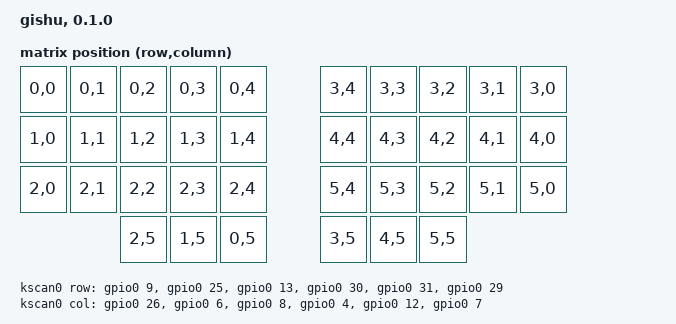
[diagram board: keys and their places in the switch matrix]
/dts-v1/;
#include <nordic/nrf52840_qiaa.dtsi>
#include <dt-bindings/zmk/matrix_transform.h>
#include <dt-bindings/zmk/ext_power.h>

/ {
    model = "gishu, 0.1.0";
    compatible = "gishu,0.1.0";

    chosen {
        zephyr,code-partition = &code_partition;
        zephyr,sram = &sram0;
        zephyr,flash = &flash0;
        zmk,kscan = &kscan0;
        zmk,matrix_transform = &default_transform;
        zmk,battery = &vbatt;
        zmk,ext-power = &ext_power;
        /* zephyr,console = &cdc_acm_uart; */
    };

    default_transform: keymap_transform_0 {
        compatible = "zmk,matrix-transform";
        columns = <6>;
        rows = <6>;
        map = <
            RC(0,0) RC(0,1) RC(0,2) RC(0,3) RC(0,4)    RC(3,4) RC(3,3) RC(3,2) RC(3,1) RC(3,0) 
            RC(1,0) RC(1,1) RC(1,2) RC(1,3) RC(1,4)    RC(4,4) RC(4,3) RC(4,2) RC(4,1) RC(4,0) 
            RC(2,0) RC(2,1) RC(2,2) RC(2,3) RC(2,4)    RC(5,4) RC(5,3) RC(5,2) RC(5,1) RC(5,0) 
                            RC(2,5) RC(1,5) RC(0,5)    RC(3,5) RC(4,5) RC(5,5)
            >;
    };

 
    kscan0: kscan {
        compatible = "zmk,kscan-gpio-matrix";
        diode-direction = "col2row";
        row-gpios
            = <&gpio0  9 (GPIO_ACTIVE_HIGH | GPIO_PULL_DOWN)>
            , <&gpio0 25 (GPIO_ACTIVE_HIGH | GPIO_PULL_DOWN)>
            , <&gpio0 13 (GPIO_ACTIVE_HIGH | GPIO_PULL_DOWN)>
            , <&gpio0 30 (GPIO_ACTIVE_HIGH | GPIO_PULL_DOWN)>
            , <&gpio0 31 (GPIO_ACTIVE_HIGH | GPIO_PULL_DOWN)>
            , <&gpio0 29 (GPIO_ACTIVE_HIGH | GPIO_PULL_DOWN)>
            ;
        col-gpios
            = <&gpio0 26 GPIO_ACTIVE_HIGH>
            , <&gpio0  6 GPIO_ACTIVE_HIGH>
            , <&gpio0  8 GPIO_ACTIVE_HIGH>
            , <&gpio0  4 GPIO_ACTIVE_HIGH>
            , <&gpio0 12 GPIO_ACTIVE_HIGH>
            , <&gpio0  7 GPIO_ACTIVE_HIGH>
            ;
    };
    vbatt: vbatt {
        compatible = "zmk,battery-nrf-vddh";
    };


    ext_power {
        compatible = "zmk,ext-power-generic";
        control-gpios = <&gpio1 9 GPIO_ACTIVE_HIGH>;
    };
};

&adc {
    status = "okay";
};

&gpio0 {
    status = "okay";
};

&gpio1 {
    status = "okay";
};

&usbd {
    status = "okay";
/*     cdc_acm_uart: cdc_acm_uart {
        compatible = "zephyr,cdc-acm-uart";
    }; */
};

&flash0 {
    /*
     * For more information, see:
     * http://docs.zephyrproject.org/latest/devices/dts/flash_partitions.html
     */
    partitions {
        compatible = "fixed-partitions";
        #address-cells = <1>;
        #size-cells = <1>;

        sd_partition: partition@0 {
            label = "softdevice";
            reg = <0x00000000 0x00026000>;
        };
        code_partition: partition@26000 {
            label = "code_partition";
            reg = <0x00026000 0x000c6000>;
        };

        /*
         * The flash starting at 0x000ec000 and ending at
         * 0x000f3fff is reserved for use by the application.
         */

        /*
         * Storage partition will be used by FCB/LittleFS/NVS
         * if enabled.
         */
        storage_partition: partition@ec000 {
            label = "storage";
            reg = <0x000ec000 0x00008000>;
        };

        boot_partition: partition@f4000 {
            label = "boot";
            reg = <0x000f4000 0x0000c000>;
        };
    };
};
